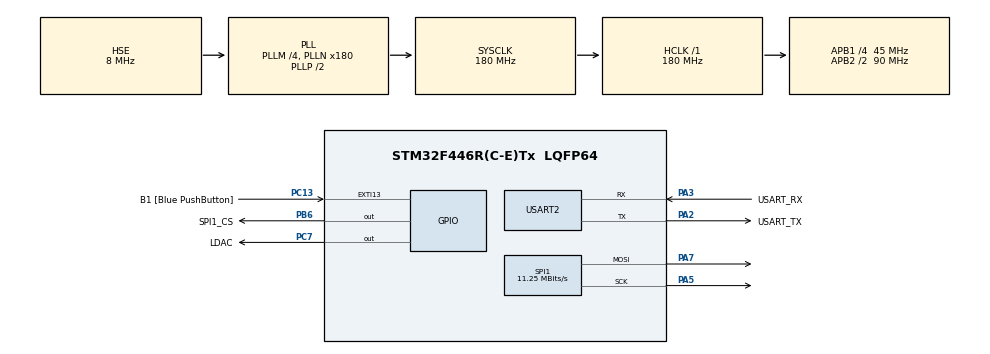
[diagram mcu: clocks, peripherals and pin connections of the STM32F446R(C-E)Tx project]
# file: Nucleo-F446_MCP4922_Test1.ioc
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Mcu.Family=STM32F4
Mcu.Name=STM32F446R(C-E)Tx
Mcu.Package=LQFP64
NVIC.PriorityGroup=NVIC_PRIORITYGROUP_0
PA13.GPIO_Label=TMS
PA13.Mode=Serial_Wire
PA13.Signal=SYS_JTMS-SWDIO
PA14.GPIO_Label=TCK
PA14.Mode=Serial_Wire
PA14.Signal=SYS_JTCK-SWCLK
PA2.GPIO_Label=USART_TX
PA2.Mode=Asynchronous
PA2.Signal=USART2_TX
PA3.GPIO_Label=USART_RX
PA3.Mode=Asynchronous
PA3.Signal=USART2_RX
PA5.Mode=TX_Only_Simplex_Unidirect_Master
PA5.Signal=SPI1_SCK
PA7.Mode=TX_Only_Simplex_Unidirect_Master
PA7.Signal=SPI1_MOSI
PB3.GPIO_Label=SWO
PB3.Signal=SYS_JTDO-SWO
PB6.GPIO_Label=SPI1_CS
PB6.GPIO_Speed=GPIO_SPEED_FREQ_HIGH
PB6.Signal=GPIO_Output
PC13.GPIO_Label=B1 [Blue PushButton]
PC13.GPIO_ModeDefaultEXTI=GPIO_MODE_IT_FALLING
PC13.Signal=GPXTI13
PC14-OSC32_IN.Mode=LSE-External-Oscillator
PC14-OSC32_IN.Signal=RCC_OSC32_IN
PC15-OSC32_OUT.Mode=LSE-External-Oscillator
PC15-OSC32_OUT.Signal=RCC_OSC32_OUT
PC7.GPIO_Label=LDAC
PC7.GPIO_Speed=GPIO_SPEED_FREQ_HIGH
PC7.Signal=GPIO_Output
PH0-OSC_IN.Mode=HSE-External-Oscillator
PH0-OSC_IN.Signal=RCC_OSC_IN
PH1-OSC_OUT.Mode=HSE-External-Oscillator
PH1-OSC_OUT.Signal=RCC_OSC_OUT
ProjectManager.HeapSize=0x200
ProjectManager.StackSize=0x400
ProjectManager.TargetToolchain=SW4STM32
RCC.48MHZClocksFreq_Value=84000000
RCC.AHBFreq_Value=180000000
RCC.APB1CLKDivider=RCC_HCLK_DIV4
RCC.APB1Freq_Value=45000000
RCC.APB1TimFreq_Value=90000000
RCC.APB2CLKDivider=RCC_HCLK_DIV2
RCC.APB2Freq_Value=90000000
RCC.APB2TimFreq_Value=180000000
RCC.CortexFreq_Value=180000000
RCC.FLatency-AdvancedSettings=FLASH_LATENCY_5
RCC.HCLKFreq_Value=180000000
RCC.HSE_VALUE=8000000
RCC.HSI_VALUE=16000000
RCC.PLLM=4
RCC.PLLN=180
RCC.PLLSourceVirtual=RCC_PLLSOURCE_HSE
RCC.SYSCLKFreq_VALUE=180000000
RCC.SYSCLKSource=RCC_SYSCLKSOURCE_PLLCLK
RCC.USBFreq_Value=180000000
RCC.VCOOutputFreq_Value=360000000
SPI1.BaudRatePrescaler=SPI_BAUDRATEPRESCALER_8
SPI1.CalculateBaudRate=11.25 MBits/s
SPI1.Direction=SPI_DIRECTION_2LINES
SPI1.Mode=SPI_MODE_MASTER
SPI1.VirtualType=VM_MASTER
USART2.VirtualMode=VM_ASYNC
board=NUCLEO-F446RE

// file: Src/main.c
/* USER CODE BEGIN Header */
/**
  ******************************************************************************
  * @file           : main.c
  * @brief          : Main program body
  ******************************************************************************
  * @attention
  *
  * <h2><center>&copy; Copyright (c) 2019 STMicroelectronics.
  * All rights reserved.</center></h2>
  *
  * This software component is licensed by ST under BSD 3-Clause license,
  * the "License"; You may not use this file except in compliance with the
  * License. You may obtain a copy of the License at:
  *                        opensource.org/licenses/BSD-3-Clause
  *
  ******************************************************************************
  */
/* USER CODE END Header */

#include "main.h"

SPI_HandleTypeDef hspi1;

UART_HandleTypeDef huart2;

void SystemClock_Config(void);
static void MX_GPIO_Init(void);
static void MX_SPI1_Init(void);
static void MX_USART2_UART_Init(void);

/* USER CODE BEGIN 0 */

// param
//   channel: 0, 1
//   val: 0 .. 4095
void MCP4922_Write(uint8_t channel, uint16_t val)
{
	channel = channel & 0x01;
	val = val & 0x0fff;

	uint8_t cmd[2];
	cmd[0] = (channel << 7) | (val >> 8) | 0x30;
	cmd[1] = val & 0xff;

	HAL_GPIO_WritePin(SPI1_CS_GPIO_Port, SPI1_CS_Pin, GPIO_PIN_RESET);
	if (HAL_SPI_Transmit(&hspi1, cmd, 2, 100) != HAL_OK) {
		Error_Handler();
	}
	HAL_GPIO_WritePin(SPI1_CS_GPIO_Port, SPI1_CS_Pin, GPIO_PIN_SET);
}

/* USER CODE END 0 */

int main(void)
{

  /* MCU Configuration--------------------------------------------------------*/

  /* Reset of all peripherals, Initializes the Flash interface and the Systick. */
  HAL_Init();

  /* Configure the system clock */
  SystemClock_Config();

  /* Initialize all configured peripherals */
  MX_GPIO_Init();
  MX_SPI1_Init();
  MX_USART2_UART_Init();

  /* Infinite loop */
  /* USER CODE BEGIN WHILE */
  uint16_t cnt = 0;
  while (1)
  {
    /* USER CODE END WHILE */

    /* USER CODE BEGIN 3 */
	HAL_GPIO_WritePin(LDAC_GPIO_Port, LDAC_Pin, GPIO_PIN_SET);
	MCP4922_Write(0, cnt);
	MCP4922_Write(1, 4095 - cnt);
	HAL_GPIO_WritePin(LDAC_GPIO_Port, LDAC_Pin, GPIO_PIN_RESET);

	cnt++;
	if (cnt > 4095) {
		cnt = 0;
	}
  }
  /* USER CODE END 3 */
}

void SystemClock_Config(void)
{
  RCC_OscInitTypeDef RCC_OscInitStruct = {0};
  RCC_ClkInitTypeDef RCC_ClkInitStruct = {0};

  /** Configure the main internal regulator output voltage
  */
  __HAL_RCC_PWR_CLK_ENABLE();
  __HAL_PWR_VOLTAGESCALING_CONFIG(PWR_REGULATOR_VOLTAGE_SCALE1);
  /** Initializes the CPU, AHB and APB busses clocks
  */
  RCC_OscInitStruct.OscillatorType = RCC_OSCILLATORTYPE_HSE;
  RCC_OscInitStruct.HSEState = RCC_HSE_ON;
  RCC_OscInitStruct.PLL.PLLState = RCC_PLL_ON;
  RCC_OscInitStruct.PLL.PLLSource = RCC_PLLSOURCE_HSE;
  RCC_OscInitStruct.PLL.PLLM = 4;
  RCC_OscInitStruct.PLL.PLLN = 180;
  RCC_OscInitStruct.PLL.PLLP = RCC_PLLP_DIV2;
  RCC_OscInitStruct.PLL.PLLQ = 2;
  RCC_OscInitStruct.PLL.PLLR = 2;
  if (HAL_RCC_OscConfig(&RCC_OscInitStruct) != HAL_OK)
  {
    Error_Handler();
  }
  /** Activate the Over-Drive mode
  */
  if (HAL_PWREx_EnableOverDrive() != HAL_OK)
  {
    Error_Handler();
  }
  /** Initializes the CPU, AHB and APB busses clocks
  */
  RCC_ClkInitStruct.ClockType = RCC_CLOCKTYPE_HCLK|RCC_CLOCKTYPE_SYSCLK
                              |RCC_CLOCKTYPE_PCLK1|RCC_CLOCKTYPE_PCLK2;
  RCC_ClkInitStruct.SYSCLKSource = RCC_SYSCLKSOURCE_PLLCLK;
  RCC_ClkInitStruct.AHBCLKDivider = RCC_SYSCLK_DIV1;
  RCC_ClkInitStruct.APB1CLKDivider = RCC_HCLK_DIV4;
  RCC_ClkInitStruct.APB2CLKDivider = RCC_HCLK_DIV2;

  if (HAL_RCC_ClockConfig(&RCC_ClkInitStruct, FLASH_LATENCY_5) != HAL_OK)
  {
    Error_Handler();
  }
}

static void MX_SPI1_Init(void)
{

  /* SPI1 parameter configuration*/
  hspi1.Instance = SPI1;
  hspi1.Init.Mode = SPI_MODE_MASTER;
  hspi1.Init.Direction = SPI_DIRECTION_2LINES;
  hspi1.Init.DataSize = SPI_DATASIZE_8BIT;
  hspi1.Init.CLKPolarity = SPI_POLARITY_LOW;
  hspi1.Init.CLKPhase = SPI_PHASE_1EDGE;
  hspi1.Init.NSS = SPI_NSS_SOFT;
  hspi1.Init.BaudRatePrescaler = SPI_BAUDRATEPRESCALER_8;
  hspi1.Init.FirstBit = SPI_FIRSTBIT_MSB;
  hspi1.Init.TIMode = SPI_TIMODE_DISABLE;
  hspi1.Init.CRCCalculation = SPI_CRCCALCULATION_DISABLE;
  hspi1.Init.CRCPolynomial = 10;
  if (HAL_SPI_Init(&hspi1) != HAL_OK)
  {
    Error_Handler();
  }

}

static void MX_USART2_UART_Init(void)
{

  huart2.Instance = USART2;
  huart2.Init.BaudRate = 115200;
  huart2.Init.WordLength = UART_WORDLENGTH_8B;
  huart2.Init.StopBits = UART_STOPBITS_1;
  huart2.Init.Parity = UART_PARITY_NONE;
  huart2.Init.Mode = UART_MODE_TX_RX;
  huart2.Init.HwFlowCtl = UART_HWCONTROL_NONE;
  huart2.Init.OverSampling = UART_OVERSAMPLING_16;
  if (HAL_UART_Init(&huart2) != HAL_OK)
  {
    Error_Handler();
  }

}

static void MX_GPIO_Init(void)
{
  GPIO_InitTypeDef GPIO_InitStruct = {0};

  /* GPIO Ports Clock Enable */
  __HAL_RCC_GPIOC_CLK_ENABLE();
  __HAL_RCC_GPIOH_CLK_ENABLE();
  __HAL_RCC_GPIOA_CLK_ENABLE();
  __HAL_RCC_GPIOB_CLK_ENABLE();

  /*Configure GPIO pin Output Level */
  HAL_GPIO_WritePin(LDAC_GPIO_Port, LDAC_Pin, GPIO_PIN_RESET);

  /*Configure GPIO pin Output Level */
  HAL_GPIO_WritePin(SPI1_CS_GPIO_Port, SPI1_CS_Pin, GPIO_PIN_RESET);

  /*Configure GPIO pin : B1_Pin */
  GPIO_InitStruct.Pin = B1_Pin;
  GPIO_InitStruct.Mode = GPIO_MODE_IT_FALLING;
  GPIO_InitStruct.Pull = GPIO_NOPULL;
  HAL_GPIO_Init(B1_GPIO_Port, &GPIO_InitStruct);

  /*Configure GPIO pin : LDAC_Pin */
  GPIO_InitStruct.Pin = LDAC_Pin;
  GPIO_InitStruct.Mode = GPIO_MODE_OUTPUT_PP;
  GPIO_InitStruct.Pull = GPIO_NOPULL;
  GPIO_InitStruct.Speed = GPIO_SPEED_FREQ_HIGH;
  HAL_GPIO_Init(LDAC_GPIO_Port, &GPIO_InitStruct);

  /*Configure GPIO pin : SPI1_CS_Pin */
  GPIO_InitStruct.Pin = SPI1_CS_Pin;
  GPIO_InitStruct.Mode = GPIO_MODE_OUTPUT_PP;
  GPIO_InitStruct.Pull = GPIO_NOPULL;
  GPIO_InitStruct.Speed = GPIO_SPEED_FREQ_HIGH;
  HAL_GPIO_Init(SPI1_CS_GPIO_Port, &GPIO_InitStruct);

}

void Error_Handler(void)
{
}

/************************ (C) COPYRIGHT STMicroelectronics *****END OF FILE****/
